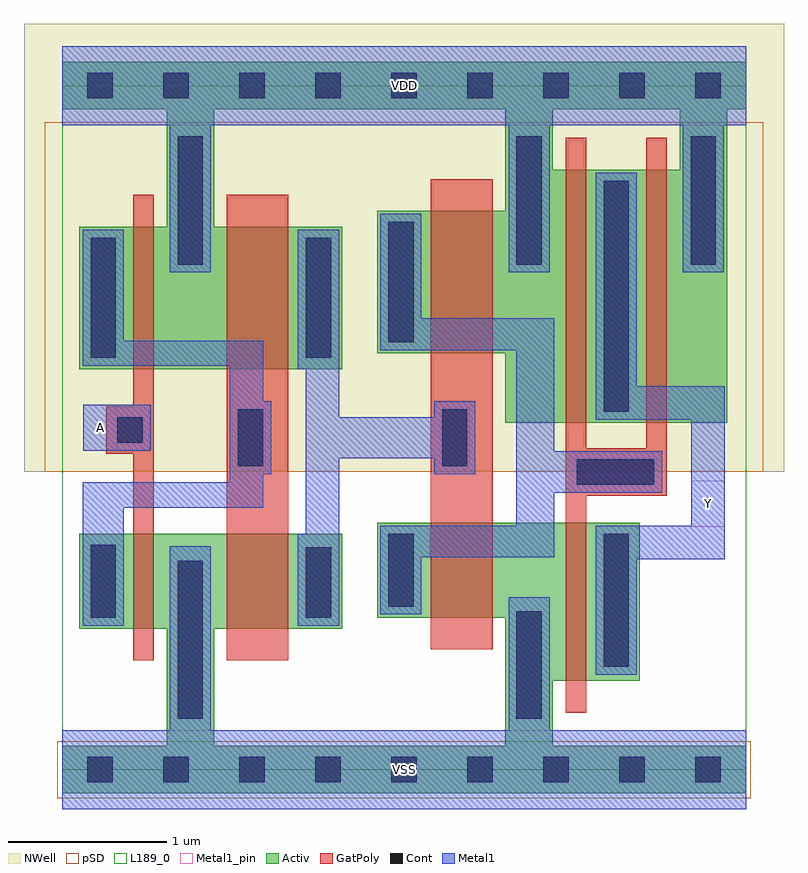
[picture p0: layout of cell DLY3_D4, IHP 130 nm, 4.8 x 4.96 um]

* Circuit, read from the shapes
.subckt DLY3_D4 A VDD VSS Y
XM1 VSS A n1 VSS sg13_lv_nmos w=0.6u l=0.13u
XM2 n2 n1 VSS VSS sg13_lv_nmos w=0.6u l=0.39u
XM3 VSS n2 n3 VSS sg13_lv_nmos w=0.6u l=0.39u
XM4 Y n3 VSS VSS sg13_lv_nmos w=1u l=0.13u
XM5 VDD A n1 VDD sg13_lv_pmos w=0.9u l=0.13u
XM6 n2 n1 VDD VDD sg13_lv_pmos w=0.9u l=0.39u
XM7 VDD n2 n3 VDD sg13_lv_pmos w=0.9u l=0.39u
XM8 Y n3 VDD VDD sg13_lv_pmos w=1.6u l=0.13u m=2
.ends

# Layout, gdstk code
import gdstk
lib = gdstk.Library(unit=1e-6, precision=1e-09)
def R(c, l, rs):  # rectangles x0, y0, x1, y1
    for r in rs: c.add(gdstk.rectangle(r[:2], r[2:], *l))
def A(c, l, x, y, w, h, nx, ny, dx, dy):  # array of equal rectangles
    R(c, l, [(x+i*dx, y+j*dy, x+i*dx+w, y+j*dy+h) for i in range(nx) for j in range(ny)])
def P(c, l, *ps):  # polygons
    for p in ps: c.add(gdstk.Polygon(p, *l))
Activ = (1, 0)
GatPoly = (5, 0)
Cont = (6, 0)
Metal1 = (8, 0)
Metal1_pin = (8, 2)
pSD = (14, 0)
NWell = (31, 0)
L189_0 = (189, 0)

dly3_d4 = lib.new_cell('DLY3_D4')
P(dly3_d4, Activ, [(0,-0.15),(0,0.15),(0.66,0.15),(0.66,0.89),(0.11,0.89),(0.11,1.49),(1.77,1.49),(1.77,0.89),(0.96,0.89),(0.96,0.15),(2.8,0.15),(2.8,0.96),(1.99,0.96),(1.99,1.56),(3.65,1.56),(3.65,0.56),(3.1,0.56),(3.1,0.15),(4.32,0.15),(4.32,-0.15)],
  [(2.8,2.19),(2.8,2.63),(1.99,2.63),(1.99,3.53),(2.8,3.53),(2.8,4.17),(3.1,4.17),(3.1,3.79),(3.9,3.79),(3.9,4.17),(0.96,4.17),(0.96,3.43),(1.77,3.43),(1.77,2.53),(0.11,2.53),(0.11,3.43),(0.66,3.43),(0.66,4.17),(0,4.17),(0,4.47),(4.32,4.47),(4.32,4.17),(4.2,4.17),(4.2,2.19)])
R(dly3_d4, GatPoly, [(1.04,0.69,1.43,3.63), (2.33,0.76,2.72,3.73)])
P(dly3_d4, GatPoly, [(0.45,0.69),(0.45,1.995),(0.28,1.995),(0.28,2.295),(0.45,2.295),(0.45,3.63),(0.58,3.63),(0.58,0.69)],
  [(3.18,0.36),(3.18,3.99),(3.31,3.99),(3.31,2.03),(3.69,2.03),(3.69,3.99),(3.82,3.99),(3.82,1.73),(3.31,1.73),(3.31,0.36)])
A(dly3_d4, Cont, 0.16, -0.08, 0.16, 0.16, 9, 2, 0.48, 4.32)
R(dly3_d4, Cont, [(0.73,0.32,0.89,1.32), (2.87,0.32,3.03,1), (3.42,0.65,3.58,1.49), (0.18,0.96,0.34,1.42), (1.54,0.96,1.7,1.405), (2.06,1.03,2.22,1.49), (3.25,1.8,3.74,1.96), (1.11,1.915,1.27,2.275), (2.4,1.915,2.56,2.275), (0.35,2.065,0.51,2.225), (3.42,2.26,3.58,3.72), (0.18,2.6,0.34,3.36), (1.54,2.6,1.7,3.36), (2.06,2.7,2.22,3.46), (0.73,3.19,0.89,4), (2.87,3.19,3.03,4), (3.97,3.19,4.13,4)])
R(dly3_d4, Metal1, [(0.135,2.015,0.56,2.305)])
P(dly3_d4, Metal1, [(0,-0.25),(0,0.25),(0.68,0.25),(0.68,1.41),(0.94,1.41),(0.94,0.25),(2.82,0.25),(2.82,1.09),(3.08,1.09),(3.08,0.25),(4.32,0.25),(4.32,-0.25)],
  [(0.13,0.91),(0.13,1.815),(1.06,1.815),(1.06,2.55),(0.13,2.55),(0.13,3.41),(0.39,3.41),(0.39,2.71),(1.27,2.71),(1.27,2.325),(1.32,2.325),(1.32,1.865),(1.27,1.865),(1.27,1.655),(0.39,1.655),(0.39,0.91)],
  [(1.49,0.91),(1.49,1.49),(1.54,1.49),(1.54,2.53),(1.49,2.53),(1.49,3.41),(1.75,3.41),(1.75,2.225),(2.35,2.225),(2.35,2.325),(2.61,2.325),(2.61,1.865),(2.35,1.865),(2.35,1.965),(1.75,1.965),(1.75,0.91)],
  [(2.01,0.98),(2.01,1.54),(2.87,1.54),(2.87,2.65),(2.01,2.65),(2.01,3.51),(2.27,3.51),(2.27,2.85),(3.11,2.85),(3.11,2.01),(3.79,2.01),(3.79,1.75),(3.11,1.75),(3.11,1.34),(2.27,1.34),(2.27,0.98)],
  [(3.37,0.6),(3.37,1.54),(3.975,1.54),(3.975,2.21),(3.37,2.21),(3.37,3.77),(3.63,3.77),(3.63,2.42),(4.185,2.42),(4.185,1.33),(3.63,1.33),(3.63,0.6)],
  [(0.68,3.14),(0.68,4.07),(0,4.07),(0,4.57),(4.32,4.57),(4.32,4.07),(4.18,4.07),(4.18,3.14),(3.92,3.14),(3.92,4.07),(3.08,4.07),(3.08,3.14),(2.82,3.14),(2.82,4.07),(0.94,4.07),(0.94,3.14)])
R(dly3_d4, Metal1_pin, [(0,-0.25,4.32,0.25), (3.975,1.535,4.185,1.825), (0.135,2.015,0.345,2.305), (0,4.07,4.32,4.57)])
R(dly3_d4, pSD, [(-0.03,-0.18,4.35,0.18), (-0.11,1.88,4.43,4.09)])
R(dly3_d4, NWell, [(-0.24,1.88,4.56,4.71)])
R(dly3_d4, L189_0, [(0,0,4.32,4.32)])
dly3_d4.add(gdstk.Label('VDD', (2.16,4.32), layer=8, texttype=25))
dly3_d4.add(gdstk.Label('VSS', (2.16,0), layer=8, texttype=25))
dly3_d4.add(gdstk.Label('A', (0.24,2.16), layer=8, texttype=25))
dly3_d4.add(gdstk.Label('Y', (4.08,1.68), layer=8, texttype=25))

lib.write_gds('DLY3_D4.gds')
